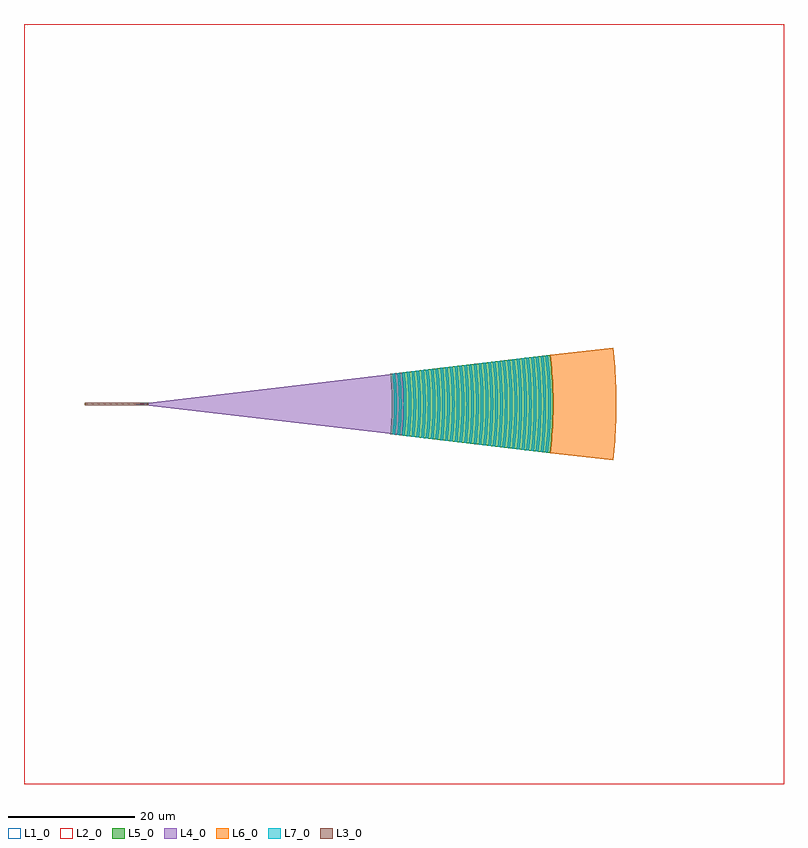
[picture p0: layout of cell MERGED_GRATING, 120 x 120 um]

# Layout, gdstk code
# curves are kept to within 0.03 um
import gdstk
lib = gdstk.Library(unit=1e-6, precision=1e-09)
def P(c, l, *ps):  # polygons
    for p in ps: c.add(gdstk.Polygon(p, *l))
L1_0 = (1, 0)
L2_0 = (2, 0)
L3_0 = (3, 0)
L4_0 = (4, 0)
L5_0 = (5, 0)
L6_0 = (6, 0)
L7_0 = (7, 0)

merged_grating = lib.new_cell('MERGED_GRATING')
P(merged_grating, L1_0, [(60,-60),(60,60),(-60,60),(-60,-60),(60,-60)])
P(merged_grating, L2_0, [(60,-60),(60,60),(-60,60),(-60,-60),(60,-60)])
P(merged_grating, L3_0, [(-40.4,-0.225),(-40.4,0.225),(-50.4,0.225),(-50.4,-0.225),(-40.4,-0.225)])
P(merged_grating, L4_0, [(-0.293,-4.973),(-0.058,-2.214),(0,0),(-0.058,2.214),(-0.293,4.973),(-42.3,0)])
P(merged_grating, L5_0, [(23.552,0),(23.518,2.116),(23.416,4.23),(23.095,7.742),(-2.181,4.75),(-1.979,2.519),(-1.901,0.28),(-1.979,-2.519),(-2.181,-4.75),(23.095,-7.742),(23.416,-4.23),(23.518,-2.116)])
P(merged_grating, L6_0, [(33.193,7.373),(33.026,8.918),(23.095,7.742),(23.416,4.23),(23.518,2.116),(23.552,0),(23.518,-2.116),(23.416,-4.23),(23.095,-7.742),(33.026,-8.918),(33.384,-5.049),(33.503,-2.72),(33.551,-0.389),(33.471,3.497)])
P(merged_grating, L7_0, [(23.044,-4.206),(23.165,-1.403),(23.165,1.403),(23.044,4.206),(22.725,7.699),(22.34,7.653),(22.658,4.181),(22.758,2.092),(22.792,0),(22.758,-2.092),(22.658,-4.181),(22.34,-7.653),(22.725,-7.699)],
  [(22.119,-6.231),(22.36,-2.773),(22.416,0.693),(22.286,4.157),(21.971,7.609),(21.586,7.564),(21.796,5.507),(21.94,3.444),(22.032,0),(21.94,-3.444),(21.796,-5.507),(21.586,-7.564),(21.971,-7.609)],
  [(21.66,0),(21.568,3.424),(21.425,5.475),(21.216,7.52),(20.831,7.474),(21.141,4.084),(21.239,2.043),(21.272,0),(21.239,-2.043),(21.141,-4.084),(20.831,-7.474),(21.216,-7.52),(21.293,-6.839),(21.568,-3.424)],
  [(20.899,0.355),(20.779,3.899),(20.461,7.431),(20.076,7.385),(20.392,3.875),(20.511,0.352),(20.432,-3.171),(20.29,-5.281),(20.076,-7.385),(20.461,-7.431),(20.676,-5.314),(20.819,-3.191)],
  [(20.06,-3.152),(20.139,-0.35),(20.115,1.752),(19.974,4.551),(19.706,7.341),(19.322,7.296),(19.634,3.828),(19.751,0.348),(19.728,-1.741),(19.634,-3.828),(19.322,-7.296),(19.706,-7.341),(19.918,-5.25)],
  [(19.332,-2.422),(19.379,-0.346),(19.332,2.422),(19.216,4.496),(18.952,7.252),(18.567,7.206),(18.875,3.781),(18.991,0.344),(18.914,-3.094),(18.775,-5.153),(18.567,-7.206),(18.952,-7.252),(19.216,-4.496)],
  [(18.611,-1.026),(18.611,1.026),(18.542,3.076),(18.404,5.122),(18.197,7.163),(17.812,7.117),(18.117,3.734),(18.231,0.34),(18.208,-1.698),(18.117,-3.734),(17.812,-7.117),(18.197,-7.163),(18.504,-3.758)],
  [(17.813,-2.363),(17.859,-0.338),(17.813,2.363),(17.647,5.058),(17.442,7.073),(17.057,7.028),(17.358,3.687),(17.471,0.335),(17.396,-3.018),(17.26,-5.025),(17.057,-7.028),(17.442,-7.073),(17.647,-5.058)],
  [(17.076,-1.666),(17.099,0.333),(17.054,2.333),(16.942,4.33),(16.688,6.984),(16.303,6.938),(16.6,3.64),(16.711,0.331),(16.689,-1.656),(16.6,-3.64),(16.303,-6.938),(16.688,-6.984),(16.942,-4.33)],
  [(16.294,-2.303),(16.339,-0.329),(16.294,2.303),(16.184,4.274),(15.933,6.895),(15.548,6.849),(15.841,3.594),(15.951,0.327),(15.878,-2.941),(15.746,-4.898),(15.548,-6.849),(15.933,-6.895),(16.184,-4.274)],
  [(15.469,-3.571),(15.571,-0.974),(15.557,1.624),(15.426,4.219),(15.178,6.805),(14.793,6.76),(15.092,3.386),(15.192,0),(15.092,-3.386),(14.793,-6.76),(15.178,-6.805)],
  [(14.816,0.673),(14.677,4.035),(14.423,6.716),(14.038,6.67),(14.334,3.341),(14.432,0),(14.334,-3.341),(14.038,-6.67),(14.423,-6.716),(14.625,-4.707),(14.756,-2.692)],
  [(14.044,1.328),(13.919,3.982),(13.669,6.626),(13.284,6.581),(13.575,3.296),(13.672,0),(13.575,-3.296),(13.284,-6.581),(13.669,-6.626),(13.868,-4.644),(13.997,-2.656),(14.056,-0.664)],
  [(13.238,2.62),(13.11,4.581),(12.914,6.537),(12.529,6.492),(12.816,3.251),(12.912,0),(12.816,-3.251),(12.529,-6.492),(12.914,-6.537),(13.161,-3.928),(13.265,-1.965),(13.3,0)],
  [(12.54,0),(12.444,3.23),(12.159,6.448),(11.774,6.402),(12.058,3.207),(12.152,0),(12.058,-3.207),(11.774,-6.402),(12.159,-6.448),(12.444,-3.23)],
  [(11.765,-1.274),(11.776,0.637),(11.719,2.548),(11.596,4.456),(11.404,6.358),(11.02,6.313),(11.299,3.162),(11.392,0),(11.299,-3.162),(11.02,-6.313),(11.404,-6.358),(11.644,-3.821)],
  [(11.016,-0.628),(11.005,1.257),(10.927,3.14),(10.65,6.269),(10.265,6.224),(10.54,3.117),(10.632,0),(10.54,-3.117),(10.265,-6.224),(10.65,-6.269),(10.927,-3.14)],
  [(10.245,1.239),(10.128,3.713),(9.895,6.18),(9.51,6.134),(9.781,3.072),(9.872,0),(9.781,-3.072),(9.51,-6.134),(9.895,-6.18),(10.081,-4.331),(10.201,-2.477),(10.256,-0.619)],
  [(9.451,-2.248),(9.499,-0.321),(9.475,1.606),(9.379,3.531),(9.14,6.09),(8.755,6.045),(9.032,2.868),(9.111,0.319),(9.032,-2.868),(8.755,-6.045),(9.14,-6.09),(9.331,-4.172)],
  [(8.715,1.583),(8.621,3.48),(8.386,6.001),(8.001,5.955),(8.273,2.826),(8.351,0.314),(8.273,-2.826),(8.001,-5.955),(8.386,-6.001),(8.574,-4.111),(8.691,-2.215),(8.739,-0.317)],
  [(7.816,4.05),(7.631,5.912),(7.246,5.866),(7.476,3.401),(7.591,0.309),(7.514,-2.784),(7.246,-5.866),(7.631,-5.912),(7.863,-3.428),(7.971,-0.935),(7.955,1.559)],
  [(7.005,-4.6),(7.173,-2.149),(7.219,0.307),(7.104,3.376),(6.876,5.822),(6.491,5.777),(6.756,2.741),(6.831,0.305),(6.756,-2.741),(6.491,-5.777),(6.876,-5.822)],
  [(6.414,2.116),(6.301,3.927),(6.121,5.733),(5.736,5.687),(5.997,2.699),(6.071,0.3),(5.997,-2.699),(5.736,-5.687),(6.121,-5.733),(6.301,-3.927),(6.414,-2.116),(6.459,-0.302)],
  [(5.654,2.083),(5.544,3.866),(5.367,5.644),(4.982,5.598),(5.238,2.656),(5.311,0.295),(5.238,-2.656),(4.982,-5.598),(5.367,-5.644),(5.544,-3.866),(5.654,-2.083),(5.699,-0.298)],
  [(4.735,-4.389),(4.895,-2.05),(4.939,0.293),(4.83,3.22),(4.612,5.554),(4.227,5.509),(4.443,3.194),(4.551,0.291),(4.479,-2.614),(4.227,-5.509),(4.612,-5.554)],
  [(4.164,-1.217),(4.144,1.825),(4.036,3.648),(3.857,5.465),(3.472,5.419),(3.729,2.413),(3.792,0),(3.729,-2.413),(3.472,-5.419),(3.857,-5.465),(4.08,-3.041)],
  [(3.228,-4.185),(3.384,-1.796),(3.416,0.599),(3.322,2.991),(3.102,5.376),(2.718,5.33),(2.97,2.373),(3.032,0),(2.97,-2.373),(2.718,-5.33),(3.102,-5.376)],
  [(2.598,-2.354),(2.66,0),(2.625,1.766),(2.521,3.529),(2.348,5.286),(1.963,5.241),(2.211,2.333),(2.272,0),(2.211,-2.333),(1.963,-5.241),(2.348,-5.286)],
  [(1.839,-2.314),(1.9,0),(1.866,1.736),(1.763,3.469),(1.593,5.197),(1.208,5.151),(1.452,2.294),(1.512,0),(1.452,-2.294),(1.208,-5.151),(1.593,-5.197)],
  [(1.006,-3.409),(1.125,-1.137),(1.125,1.137),(1.006,3.409),(0.838,5.107),(0.453,5.062),(0.66,2.817),(0.752,0),(0.66,-2.817),(0.453,-5.062),(0.838,-5.107)],
  [(0.321,-2.234),(0.38,0),(0.347,1.676),(0.248,3.35),(0.084,5.018),(-0.301,4.972),(-0.066,2.214),(-0.008,0),(-0.066,-2.214),(-0.301,-4.972),(0.084,-5.018)],
  [(-0.413,-1.646),(-0.38,0),(-0.413,1.646),(-0.51,3.29),(-0.671,4.929),(-1.056,4.883),(-0.849,2.59),(-0.769,0.288),(-0.817,-2.015),(-1.056,-4.883),(-0.671,-4.929),(-0.51,-3.29)],
  [(-1.26,-3.136),(-1.149,-0.856),(-1.149,0.856),(-1.22,2.566),(-1.426,4.839),(-1.811,4.794),(-1.607,2.542),(-1.529,0.283),(-1.607,-2.542),(-1.811,-4.794),(-1.426,-4.839)])

lib.write_gds('MERGED_GRATING.gds')
